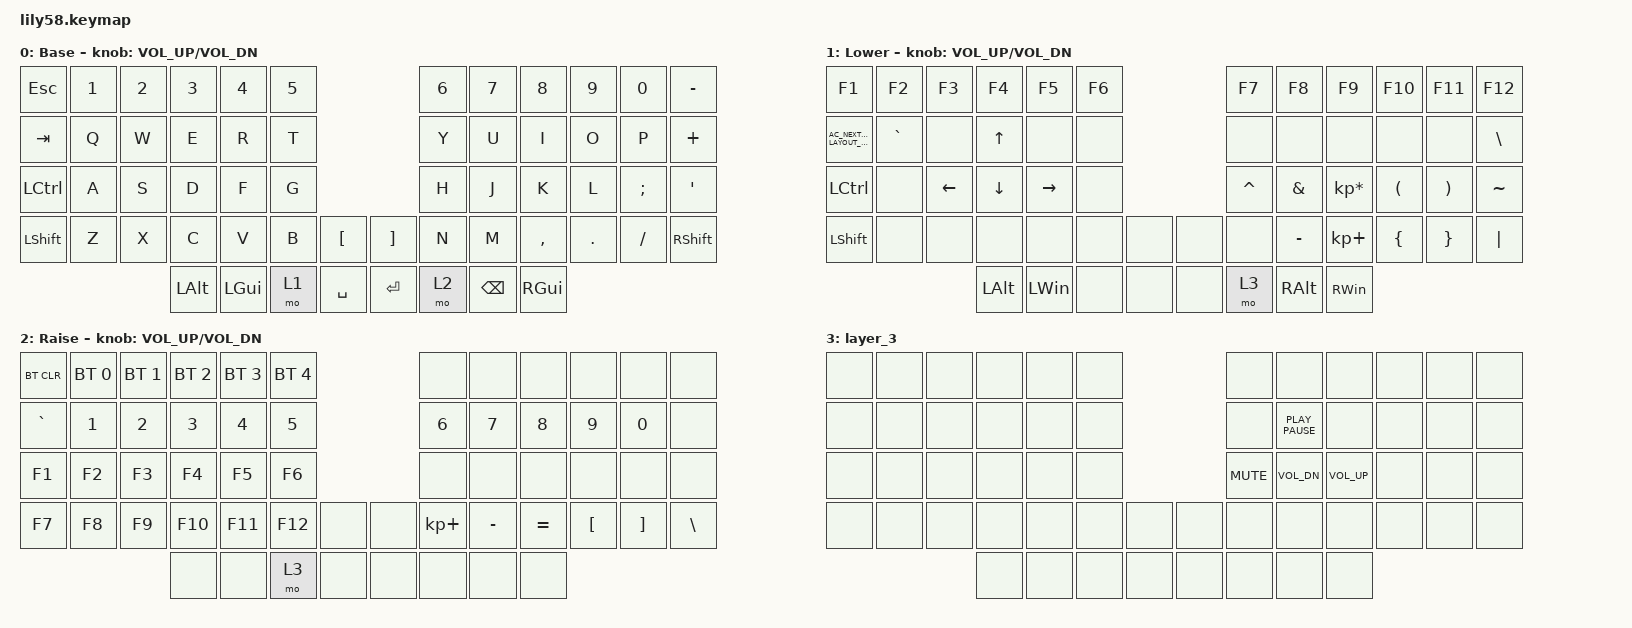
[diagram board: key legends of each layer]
/*
 * Copyright (c) 2020 The ZMK Contributors
 *
 * SPDX-License-Identifier: MIT
 */

#include <behaviors.dtsi>
#include <dt-bindings/zmk/bt.h>
#include <dt-bindings/zmk/keys.h>

/ {
    keymap {
        compatible = "zmk,keymap";

        default_layer {
            // ------------------------------------------------------------------------------------------------------------
            // |  ESC  |  1  |  2  |  3   |  4   |  5   |                   |  6   |  7    |  8    |  9   |   0   |   `   |
            // |  TAB  |  Q  |  W  |  E   |  R   |  T   |                   |  Y   |  U    |  I    |  O   |   P   |   -   |
            // |  CTRL |  A  |  S  |  D   |  F   |  G   |                   |  H   |  J    |  K    |  L   |   ;   |   '   |
            // | SHIFT |  Z  |  X  |  C   |  V   |  B   |   "["  |  |  "]"  |  N   |  M    |  ,    |  .   |   /   | SHIFT |
            //                     | ALT  | GUI  | LOWER|  SPACE |  | ENTER | RAISE| BSPC  | GUI   |

            display-name = "Base";
            bindings = <
&kp ESC    &kp N1  &kp N2  &kp N3    &kp N4    &kp N5                         &kp N6  &kp N7    &kp N8     &kp N9   &kp N0    &kp MINUS
&kp TAB    &kp Q   &kp W   &kp E     &kp R     &kp T                          &kp Y   &kp U     &kp I      &kp O    &kp P     &kp PLUS
&kp LCTRL  &kp A   &kp S   &kp D     &kp F     &kp G                          &kp H   &kp J     &kp K      &kp L    &kp SEMI  &kp SQT
&kp LSHFT  &kp Z   &kp X   &kp C     &kp V     &kp B   &kp LBKT     &kp RBKT  &kp N   &kp M     &kp COMMA  &kp DOT  &kp FSLH  &kp RSHFT
                           &kp LALT  &kp LGUI  &mo 1   &kp SPACE    &kp RET   &mo 2   &kp BSPC  &kp RGUI
            >;

            sensor-bindings = <&inc_dec_kp C_VOL_UP C_VOL_DN>;
        };

        lower_layer {
            // ------------------------------------------------------------------------------------------------------------
            // | BTCLR | BT1 | BT2 |  BT3 |  BT4 |  BT5 |                   |      |       |       |      |       |       |
            // |  F1   |  F2 |  F3 |  F4  |  F5  |  F6  |                   |  F7  |  F8   |  F9   |  F10 |  F11  |  F12  |
            // |   `   |  !  |  @  |  #   |  $   |  %   |                   |  ^   |  &    |  *    |  (   |   )   |   ~   |
            // |       |     |     |      |      |      |        |  |       |      |  _    |  +    |  {   |   }   |  "|"  |
            //                     |      |      |      |        |  |       |      |       |       |

            display-name = "Lower";
            bindings = <
&kp F1                                &kp F2     &kp F3    &kp F4          &kp F5        &kp F6                  &kp F7     &kp F8         &kp F9           &kp F10   &kp F11   &kp F12
&kp C_AC_NEXT_KEYBOARD_LAYOUT_SELECT  &kp GRAVE  &none     &kp UP_ARROW    &none         &none                   &none      &none          &none            &none     &none     &kp BACKSLASH
&kp LCTRL                             &none      &kp LEFT  &kp DOWN_ARROW  &kp RIGHT     &none                   &kp CARET  &kp AMPS       &kp KP_MULTIPLY  &kp LPAR  &kp RPAR  &kp TILDE
&kp LEFT_SHIFT                        &none      &none     &none           &none         &none   &none    &none  &none      &kp MINUS      &kp KP_PLUS      &kp LBRC  &kp RBRC  &kp PIPE
                                                           &kp LEFT_ALT    &kp LEFT_WIN  &none   &none    &none  &mo 3      &kp RIGHT_ALT  &kp RIGHT_WIN
            >;

            sensor-bindings = <&inc_dec_kp C_VOL_UP C_VOL_DN>;
        };

        raise_layer {
            // ------------------------------------------------------------------------------------------------------------
            // |       |     |     |      |      |      |                   |      |       |       |      |       |       |
            // |   `   |  1  |  2  |  3   |  4   |  5   |                   |  6   |   7   |   8   |  9   |   0   |       |
            // |   F1  |  F2 |  F3 |  F4  |  F5  |  F6  |                   |      |   <-  |   v   |  ^   |  ->   |       |
            // |   F7  |  F8 |  F9 |  F10 |  F11 |  F12 |        |  |       |  +   |   -   |   =   |  [   |   ]   |   \   |
            //                     |      |      |      |        |  |       |      |       |       |

            display-name = "Raise";
            bindings = <
&bt BT_CLR  &bt BT_SEL 0  &bt BT_SEL 1  &bt BT_SEL 2  &bt BT_SEL 3  &bt BT_SEL 4                  &none        &none      &none      &none     &none     &none
&kp GRAVE   &kp N1        &kp N2        &kp N3        &kp N4        &kp N5                        &kp N6       &kp N7     &kp N8     &kp N9    &kp N0    &none
&kp F1      &kp F2        &kp F3        &kp F4        &kp F5        &kp F6                        &none        &none      &none      &none     &none     &none
&kp F7      &kp F8        &kp F9        &kp F10       &kp F11       &kp F12       &none    &none  &kp KP_PLUS  &kp MINUS  &kp EQUAL  &kp LBKT  &kp RBKT  &kp BSLH
                                        &none         &none         &mo 3         &none    &none  &none        &none      &none
            >;

            sensor-bindings = <&inc_dec_kp C_VOL_UP C_VOL_DN>;
        };

        layer_3 {
            bindings = <
&none  &none  &none  &none  &none  &none                  &none       &none             &none            &none  &none  &none
&none  &none  &none  &none  &none  &none                  &none       &kp K_PLAY_PAUSE  &none            &none  &none  &none
&none  &none  &none  &none  &none  &none                  &kp K_MUTE  &kp C_VOL_DN      &kp C_VOLUME_UP  &none  &none  &none
&none  &none  &none  &none  &none  &none  &none    &none  &none       &none             &none            &none  &none  &none
                     &none  &none  &none  &none    &none  &none       &none             &none
            >;
        };

        extra_1 { status = "reserved"; };

        extra_2 { status = "reserved"; };

        extra_3 { status = "reserved"; };
    };
};
